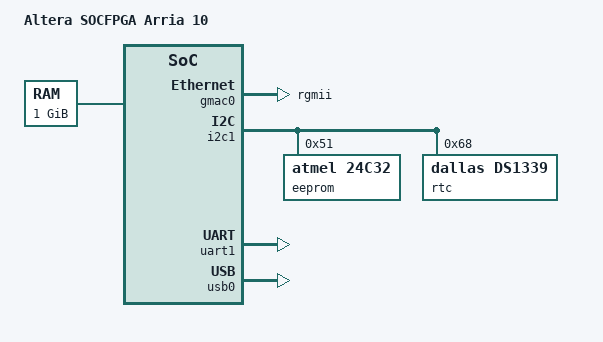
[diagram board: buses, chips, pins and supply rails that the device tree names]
/*
 * Copyright (C) 2015 Altera Corporation <www.altera.com>
 *
 * SPDX-License-Identifier:	GPL-2.0+
 */
#include "socfpga_arria10.dtsi"

/ {
	model = "Altera SOCFPGA Arria 10";
	compatible = "altr,socfpga-arria10", "altr,socfpga";

	chosen {
		bootargs = "earlyprintk";
		stdout-path = "serial1:115200n8";
	};

	memory {
		name = "memory";
		device_type = "memory";
		reg = <0x0 0x40000000>; /* 1GB */
	};

	soc {
		clkmgr@ffd04000 {
			clocks {
				osc1 {
					clock-frequency = <25000000>;
				};
			};
		};
	};
};

&gmac0 {
	phy-mode = "rgmii";
	phy-addr = <0xffffffff>; /* probe for phy addr */

	/*
	 * These skews assume the user's FPGA design is adding 600ps of delay
	 * for TX_CLK on Arria 10.
	 *
	 * All skews are offset since hardware skew values for the ksz9031
	 * range from a negative skew to a positive skew.
	 * See the micrel-ksz90x1.txt Documentation file for details.
	 */
	txd0-skew-ps = <0>; /* -420ps */
	txd1-skew-ps = <0>; /* -420ps */
	txd2-skew-ps = <0>; /* -420ps */
	txd3-skew-ps = <0>; /* -420ps */
	rxd0-skew-ps = <420>; /* 0ps */
	rxd1-skew-ps = <420>; /* 0ps */
	rxd2-skew-ps = <420>; /* 0ps */
	rxd3-skew-ps = <420>; /* 0ps */
	txen-skew-ps = <0>; /* -420ps */
	txc-skew-ps = <1860>; /* 960ps */
	rxdv-skew-ps = <420>; /* 0ps */
	rxc-skew-ps = <1680>; /* 780ps */
	max-frame-size = <3800>;
	status = "okay";
};

&i2c1 {
	speed-mode = <0>;
	status = "okay";

	/*
	 * adjust the falling times to decrease the i2c frequency to 50Khz
	 * because the LCD module does not work at the standard 100Khz
	 */
	i2c-sda-falling-time-ns = <6000>;
	i2c-scl-falling-time-ns = <6000>;

	eeprom@51 {
		compatible = "atmel,24c32";
		reg = <0x51>;
		pagesize = <32>;
	};

	rtc@68 {
		compatible = "dallas,ds1339";
		reg = <0x68>;
	};
};

&uart1 {
	status = "okay";
};

&usb0 {
	status = "okay";
};
